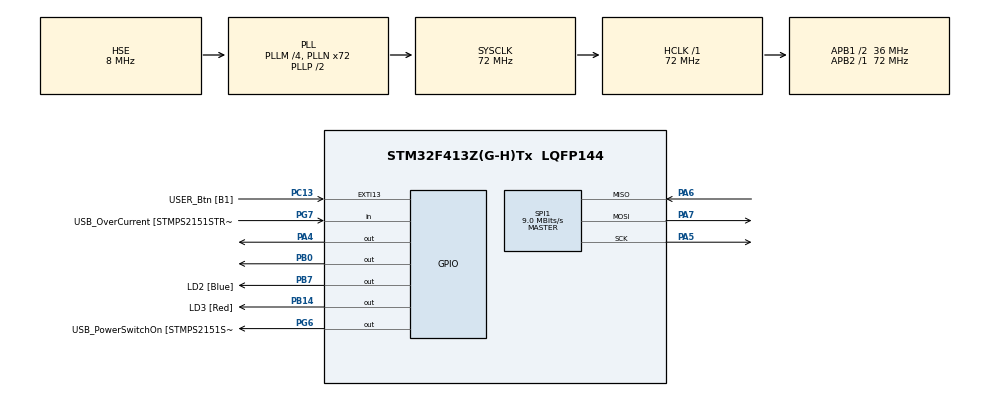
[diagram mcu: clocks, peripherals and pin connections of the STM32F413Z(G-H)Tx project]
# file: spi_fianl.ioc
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FATFS._MAX_SS=4096
FATFS._USE_LFN=1
Mcu.Family=STM32F4
Mcu.Name=STM32F413Z(G-H)Tx
Mcu.Package=LQFP144
NVIC.PriorityGroup=NVIC_PRIORITYGROUP_4
PA10.GPIO_Label=USB_ID
PA10.Signal=USB_OTG_FS_ID
PA11.GPIO_Label=USB_DM
PA11.Signal=USB_OTG_FS_DM
PA12.GPIO_Label=USB_DP
PA12.Signal=USB_OTG_FS_DP
PA13.GPIO_Label=TMS
PA13.Mode=Serial_Wire
PA13.Signal=SYS_JTMS-SWDIO
PA14.GPIO_Label=TCK
PA14.Mode=Serial_Wire
PA14.Signal=SYS_JTCK-SWCLK
PA4.Signal=GPIO_Output
PA5.Mode=Full_Duplex_Master
PA5.Signal=SPI1_SCK
PA6.Mode=Full_Duplex_Master
PA6.Signal=SPI1_MISO
PA7.Mode=Full_Duplex_Master
PA7.Signal=SPI1_MOSI
PA8.GPIO_Label=USB_SOF [TP1]
PA8.Signal=USB_OTG_FS_SOF
PA9.GPIO_Label=USB_VBUS
PA9.Signal=USB_OTG_FS_VBUS
PB0.Signal=GPIO_Output
PB14.GPIO_Label=LD3 [Red]
PB14.Signal=GPIO_Output
PB3.GPIO_Label=SWO
PB3.Signal=SYS_JTDO-SWO
PB7.GPIO_Label=LD2 [Blue]
PB7.Signal=GPIO_Output
PC13.GPIO_Label=USER_Btn [B1]
PC13.Signal=GPXTI13
PC14-OSC32_IN.Signal=RCC_OSC32_IN
PC15-OSC32_OUT.Signal=RCC_OSC32_OUT
PD8.GPIO_Label=STLK_RX [STM32F103CBT6_PA3]
PD8.Signal=USART3_TX
PD9.GPIO_Label=STLK_TX [STM32F103CBT6_PA2]
PD9.Signal=USART3_RX
PG6.GPIO_Label=USB_PowerSwitchOn [STMPS2151STR_EN]
PG6.Signal=GPIO_Output
PG7.GPIO_Label=USB_OverCurrent [STMPS2151STR_FAULT]
PG7.Signal=GPIO_Input
PH0\ -\ OSC_IN.GPIO_Label=MCO
PH0\ -\ OSC_IN.Mode=HSE-External-Oscillator
PH0\ -\ OSC_IN.Signal=RCC_OSC_IN
PH1\ -\ OSC_OUT.Mode=HSE-External-Oscillator
PH1\ -\ OSC_OUT.Signal=RCC_OSC_OUT
ProjectManager.HeapSize=0x200
ProjectManager.StackSize=0x400
ProjectManager.TargetToolchain=STM32CubeIDE
RCC.48MHZClocksFreq_Value=24000000
RCC.AHBFreq_Value=72000000
RCC.APB1CLKDivider=RCC_HCLK_DIV2
RCC.APB1Freq_Value=36000000
RCC.APB1TimFreq_Value=72000000
RCC.APB2Freq_Value=72000000
RCC.APB2TimFreq_Value=72000000
RCC.CortexFreq_Value=72000000
RCC.HCLKFreq_Value=72000000
RCC.HSE_VALUE=8000000
RCC.HSI_VALUE=16000000
RCC.PLLM=4
RCC.PLLMUL=RCC_PLL_MUL9
RCC.PLLN=72
RCC.PLLSourceVirtual=RCC_PLLSOURCE_HSE
RCC.PRESCALERUSB=RCC_USBCLKSOURCE_PLL_DIV1_5
RCC.SYSCLKFreq_VALUE=72000000
RCC.SYSCLKSource=RCC_SYSCLKSOURCE_PLLCLK
RCC.SYSCLKSourceVirtual=RCC_SYSCLKSOURCE_PLLCLK
RCC.USBFreq_Value=72000000
RCC.VCOOutputFreq_Value=144000000
SPI1.BaudRatePrescaler=SPI_BAUDRATEPRESCALER_8
SPI1.CalculateBaudRate=9.0 MBits/s
SPI1.Direction=SPI_DIRECTION_2LINES
SPI1.Mode=SPI_MODE_MASTER
SPI1.VirtualType=VM_MASTER
VP_FATFS_VS_Generic.Mode=User_defined
board=NUCLEO-F413ZH

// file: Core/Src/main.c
/* USER CODE BEGIN Header */
/**
  ******************************************************************************
  * @file           : main.c
  * @brief          : Main program body
  ******************************************************************************
  * @attention
  *
  * <h2><center>&copy; Copyright (c) 2020 STMicroelectronics.
  * All rights reserved.</center></h2>
  *
  * This software component is licensed by ST under Ultimate Liberty license
  * SLA0044, the "License"; You may not use this file except in compliance with
  * the License. You may obtain a copy of the License at:
  *                             www.st.com/SLA0044
  *
  ******************************************************************************
  */
/* USER CODE END Header */

#include "main.h"
#include "fatfs.h"

/* USER CODE BEGIN Includes */
#include "fatfs_sd.h"
#include "string.h"
/* USER CODE END Includes */

/* USER CODE BEGIN PM */
FATFS fs;
FATFS *pfs;
FIL fil;
FRESULT fres;
DWORD fre_clust;
uint32_t total, free1;
char buffer[1024];

UINT br,bw;
/* USER CODE END PM */

SPI_HandleTypeDef hspi1;

/* USER CODE BEGIN PV */

int bufsize (char *buf)
{
	int i = 0;
	while (*buf++ != '\0'){
		 i++;
	}
	return i;
}

void bufclear (void)
{
	for(int i = 0; i<1024; i++)
	{
		buffer[i] = '\0';
	}
}
/* USER CODE END PV */

void SystemClock_Config(void);
static void MX_GPIO_Init(void);
static void MX_SPI1_Init(void);

int main(void)
{

  /* MCU Configuration--------------------------------------------------------*/

  /* Reset of all peripherals, Initializes the Flash interface and the Systick. */
  HAL_Init();

  /* Configure the system clock */
  SystemClock_Config();

  /* Initialize all configured peripherals */
  MX_GPIO_Init();
  MX_SPI1_Init();
  MX_FATFS_Init();
  /* USER CODE BEGIN 2 */
  fres = f_mount(&fs, "", 0);
    if(fres != FR_OK) sprintf (buffer, "SD CARD Free Space: \t%lu\n",free1);
    else  sprintf (buffer, "SD CARD Free Space: \t%lu\n",free1);
    // check free space
          f_getfree("", &fre_clust, &pfs);
          total = (uint32_t)((pfs->n_fatent - 2) * pfs->csize * 0.5);
          sprintf (buffer, "SD CARD Free Space: \t%lu\n",free1);
          bufclear();
          free1 = (uint32_t)(fre_clust * pfs->csize * 0.5);
          ////send_uart(buffer);

        // Open file to write
          fres = f_open(&fil, "file1.txt", FA_OPEN_ALWAYS | FA_READ | FA_WRITE);
        // writing text
          fres = f_puts("This data is from the First FILE\n\n", &fil);
          //send_uart ("File1.txt created and the data is written \n");

        // close file
          fres = f_close(&fil);

          //send_uart ("File1.txt created and the data is written \n");

        //open file to read
          fres = f_open(&fil, "file1.txt", FA_READ);

        //Read string from the file
          //f_gets(buffer, fil.fsize, &fil);
          //send_uart(buffer);
          f_close(&fil);
          bufclear();
  /* USER CODE END 2 */

  /* Infinite loop */
  while (1)
  {

  }
}

void SystemClock_Config(void)
{
  RCC_OscInitTypeDef RCC_OscInitStruct = {0};
  RCC_ClkInitTypeDef RCC_ClkInitStruct = {0};

  /** Configure the main internal regulator output voltage
  */
  __HAL_RCC_PWR_CLK_ENABLE();
  __HAL_PWR_VOLTAGESCALING_CONFIG(PWR_REGULATOR_VOLTAGE_SCALE1);
  /** Initializes the CPU, AHB and APB busses clocks
  */
  RCC_OscInitStruct.OscillatorType = RCC_OSCILLATORTYPE_HSE;
  RCC_OscInitStruct.HSEState = RCC_HSE_ON;
  RCC_OscInitStruct.PLL.PLLState = RCC_PLL_ON;
  RCC_OscInitStruct.PLL.PLLSource = RCC_PLLSOURCE_HSE;
  RCC_OscInitStruct.PLL.PLLM = 4;
  RCC_OscInitStruct.PLL.PLLN = 72;
  RCC_OscInitStruct.PLL.PLLP = RCC_PLLP_DIV2;
  RCC_OscInitStruct.PLL.PLLQ = 2;
  RCC_OscInitStruct.PLL.PLLR = 2;
  if (HAL_RCC_OscConfig(&RCC_OscInitStruct) != HAL_OK)
  {
    Error_Handler();
  }
  /** Initializes the CPU, AHB and APB busses clocks
  */
  RCC_ClkInitStruct.ClockType = RCC_CLOCKTYPE_HCLK|RCC_CLOCKTYPE_SYSCLK
                              |RCC_CLOCKTYPE_PCLK1|RCC_CLOCKTYPE_PCLK2;
  RCC_ClkInitStruct.SYSCLKSource = RCC_SYSCLKSOURCE_PLLCLK;
  RCC_ClkInitStruct.AHBCLKDivider = RCC_SYSCLK_DIV1;
  RCC_ClkInitStruct.APB1CLKDivider = RCC_HCLK_DIV2;
  RCC_ClkInitStruct.APB2CLKDivider = RCC_HCLK_DIV1;

  if (HAL_RCC_ClockConfig(&RCC_ClkInitStruct, FLASH_LATENCY_2) != HAL_OK)
  {
    Error_Handler();
  }
}

static void MX_SPI1_Init(void)
{

  /* SPI1 parameter configuration*/
  hspi1.Instance = SPI1;
  hspi1.Init.Mode = SPI_MODE_MASTER;
  hspi1.Init.Direction = SPI_DIRECTION_2LINES;
  hspi1.Init.DataSize = SPI_DATASIZE_8BIT;
  hspi1.Init.CLKPolarity = SPI_POLARITY_LOW;
  hspi1.Init.CLKPhase = SPI_PHASE_1EDGE;
  hspi1.Init.NSS = SPI_NSS_SOFT;
  hspi1.Init.BaudRatePrescaler = SPI_BAUDRATEPRESCALER_8;
  hspi1.Init.FirstBit = SPI_FIRSTBIT_MSB;
  hspi1.Init.TIMode = SPI_TIMODE_DISABLE;
  hspi1.Init.CRCCalculation = SPI_CRCCALCULATION_DISABLE;
  hspi1.Init.CRCPolynomial = 10;
  if (HAL_SPI_Init(&hspi1) != HAL_OK)
  {
    Error_Handler();
  }

}

static void MX_GPIO_Init(void)
{
  GPIO_InitTypeDef GPIO_InitStruct = {0};

  /* GPIO Ports Clock Enable */
  __HAL_RCC_GPIOC_CLK_ENABLE();
  __HAL_RCC_GPIOH_CLK_ENABLE();
  __HAL_RCC_GPIOA_CLK_ENABLE();
  __HAL_RCC_GPIOB_CLK_ENABLE();
  __HAL_RCC_GPIOD_CLK_ENABLE();
  __HAL_RCC_GPIOG_CLK_ENABLE();

  /*Configure GPIO pin Output Level */
  HAL_GPIO_WritePin(GPIOA, GPIO_PIN_4, GPIO_PIN_RESET);

  /*Configure GPIO pin Output Level */
  HAL_GPIO_WritePin(GPIOB, GPIO_PIN_0|LD3_Pin|LD2_Pin, GPIO_PIN_RESET);

  /*Configure GPIO pin Output Level */
  HAL_GPIO_WritePin(USB_PowerSwitchOn_GPIO_Port, USB_PowerSwitchOn_Pin, GPIO_PIN_RESET);

  /*Configure GPIO pin : USER_Btn_Pin */
  GPIO_InitStruct.Pin = USER_Btn_Pin;
  GPIO_InitStruct.Mode = GPIO_MODE_IT_RISING;
  GPIO_InitStruct.Pull = GPIO_NOPULL;
  HAL_GPIO_Init(USER_Btn_GPIO_Port, &GPIO_InitStruct);

  /*Configure GPIO pin : PA4 */
  GPIO_InitStruct.Pin = GPIO_PIN_4;
  GPIO_InitStruct.Mode = GPIO_MODE_OUTPUT_PP;
  GPIO_InitStruct.Pull = GPIO_NOPULL;
  GPIO_InitStruct.Speed = GPIO_SPEED_FREQ_LOW;
  HAL_GPIO_Init(GPIOA, &GPIO_InitStruct);

  /*Configure GPIO pins : PB0 LD3_Pin LD2_Pin */
  GPIO_InitStruct.Pin = GPIO_PIN_0|LD3_Pin|LD2_Pin;
  GPIO_InitStruct.Mode = GPIO_MODE_OUTPUT_PP;
  GPIO_InitStruct.Pull = GPIO_NOPULL;
  GPIO_InitStruct.Speed = GPIO_SPEED_FREQ_LOW;
  HAL_GPIO_Init(GPIOB, &GPIO_InitStruct);

  /*Configure GPIO pins : STLK_RX_Pin STLK_TX_Pin */
  GPIO_InitStruct.Pin = STLK_RX_Pin|STLK_TX_Pin;
  GPIO_InitStruct.Mode = GPIO_MODE_AF_PP;
  GPIO_InitStruct.Pull = GPIO_NOPULL;
  GPIO_InitStruct.Speed = GPIO_SPEED_FREQ_VERY_HIGH;
  GPIO_InitStruct.Alternate = GPIO_AF7_USART3;
  HAL_GPIO_Init(GPIOD, &GPIO_InitStruct);

  /*Configure GPIO pin : USB_PowerSwitchOn_Pin */
  GPIO_InitStruct.Pin = USB_PowerSwitchOn_Pin;
  GPIO_InitStruct.Mode = GPIO_MODE_OUTPUT_PP;
  GPIO_InitStruct.Pull = GPIO_NOPULL;
  GPIO_InitStruct.Speed = GPIO_SPEED_FREQ_LOW;
  HAL_GPIO_Init(USB_PowerSwitchOn_GPIO_Port, &GPIO_InitStruct);

  /*Configure GPIO pin : USB_OverCurrent_Pin */
  GPIO_InitStruct.Pin = USB_OverCurrent_Pin;
  GPIO_InitStruct.Mode = GPIO_MODE_INPUT;
  GPIO_InitStruct.Pull = GPIO_NOPULL;
  HAL_GPIO_Init(USB_OverCurrent_GPIO_Port, &GPIO_InitStruct);

  /*Configure GPIO pins : USB_SOF_Pin USB_ID_Pin USB_DM_Pin USB_DP_Pin */
  GPIO_InitStruct.Pin = USB_SOF_Pin|USB_ID_Pin|USB_DM_Pin|USB_DP_Pin;
  GPIO_InitStruct.Mode = GPIO_MODE_AF_PP;
  GPIO_InitStruct.Pull = GPIO_NOPULL;
  GPIO_InitStruct.Speed = GPIO_SPEED_FREQ_VERY_HIGH;
  GPIO_InitStruct.Alternate = GPIO_AF10_OTG_FS;
  HAL_GPIO_Init(GPIOA, &GPIO_InitStruct);

}

void Error_Handler(void)
{
}

/************************ (C) COPYRIGHT STMicroelectronics *****END OF FILE****/
